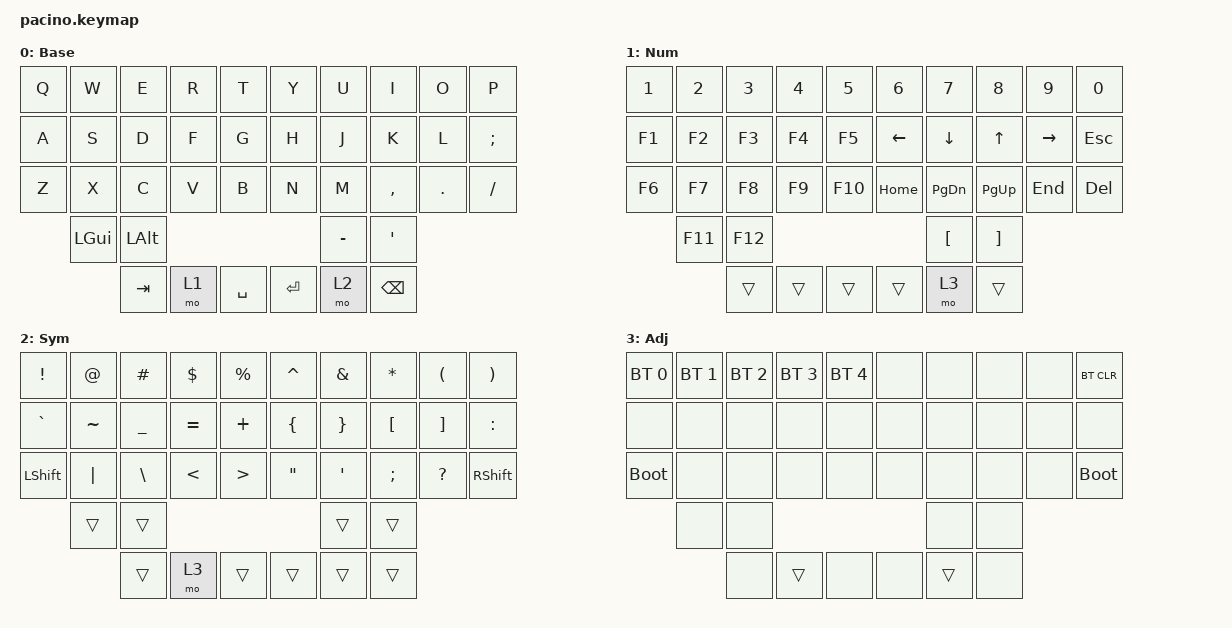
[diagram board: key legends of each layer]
/*
 * Default Pacino keymap -- a plain starting point, replace with your own in config/pacino.keymap.
 * 40 keys: 3x5 per half + 2 extras (under X/C and ,/.) + 3 thumbs per half.
 */

#include <behaviors.dtsi>
#include <dt-bindings/zmk/keys.h>
#include <dt-bindings/zmk/bt.h>

/ {
    keymap {
        compatible = "zmk,keymap";

        base_layer {
            display-name = "Base";
            bindings = <
&kp Q      &kp W      &kp E      &kp R      &kp T          &kp Y      &kp U      &kp I      &kp O      &kp P
&kp A      &kp S      &kp D      &kp F      &kp G          &kp H      &kp J      &kp K      &kp L      &kp SEMI
&kp Z      &kp X      &kp C      &kp V      &kp B          &kp N      &kp M      &kp COMMA  &kp DOT    &kp FSLH
           &kp LGUI   &kp LALT                                        &kp MINUS  &kp SQT
                      &kp TAB    &mo 1      &kp SPACE      &kp RET    &mo 2      &kp BSPC
            >;
        };

        lower_layer {
            display-name = "Num";
            bindings = <
&kp N1     &kp N2     &kp N3     &kp N4     &kp N5         &kp N6     &kp N7     &kp N8     &kp N9     &kp N0
&kp F1     &kp F2     &kp F3     &kp F4     &kp F5         &kp LEFT   &kp DOWN   &kp UP     &kp RIGHT  &kp ESC
&kp F6     &kp F7     &kp F8     &kp F9     &kp F10        &kp HOME   &kp PG_DN  &kp PG_UP  &kp END    &kp DEL
           &kp F11    &kp F12                                         &kp LBKT   &kp RBKT
                      &trans     &trans     &trans         &trans     &mo 3      &trans
            >;
        };

        raise_layer {
            display-name = "Sym";
            bindings = <
&kp EXCL   &kp AT     &kp HASH   &kp DLLR   &kp PRCNT      &kp CARET  &kp AMPS   &kp STAR   &kp LPAR   &kp RPAR
&kp GRAVE  &kp TILDE  &kp UNDER  &kp EQUAL  &kp PLUS       &kp LBRC   &kp RBRC   &kp LBKT   &kp RBKT   &kp COLON
&kp LSHFT  &kp PIPE   &kp BSLH   &kp LT     &kp GT         &kp DQT    &kp SQT    &kp SEMI   &kp QMARK  &kp RSHFT
           &trans     &trans                                          &trans     &trans
                      &trans     &mo 3      &trans         &trans     &trans     &trans
            >;
        };

        adjust_layer {
            display-name = "Adj";
            bindings = <
&bt BT_SEL 0 &bt BT_SEL 1 &bt BT_SEL 2 &bt BT_SEL 3 &bt BT_SEL 4    &none  &none  &none  &none  &bt BT_CLR
&none        &none        &none        &none        &none           &none  &none  &none  &none  &none
&bootloader  &none        &none        &none        &none           &none  &none  &none  &none  &bootloader
             &none        &none                                            &none  &none
                          &none        &trans       &none           &none  &trans &none
            >;
        };
    };
};
